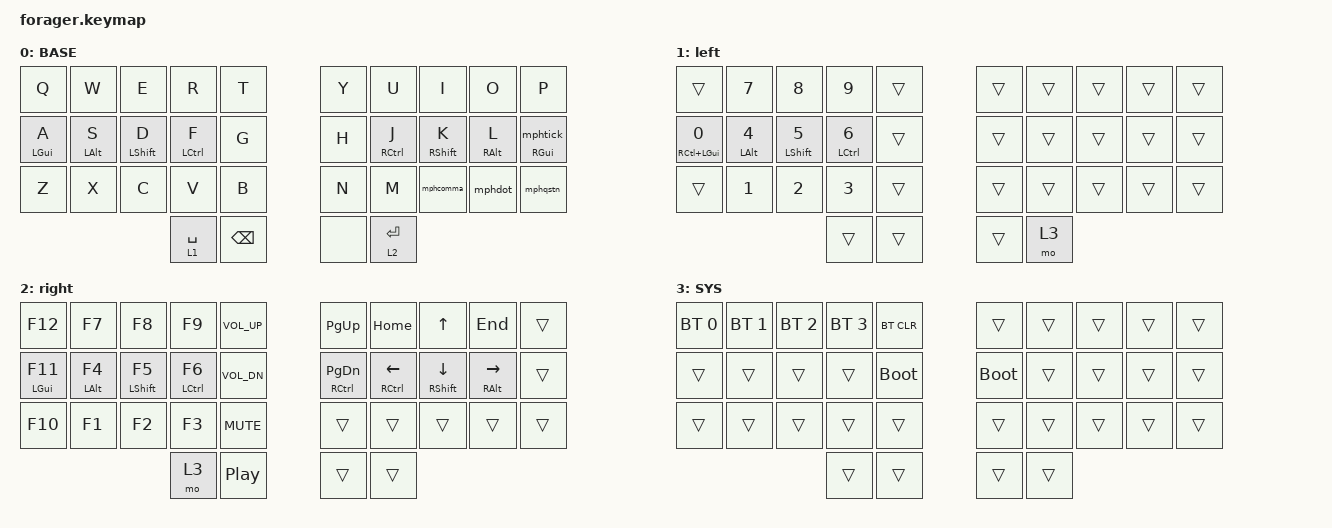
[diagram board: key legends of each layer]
/*
 * Copyright (c) 2020 The ZMK Contributors
 *
 * SPDX-License-Identifier: MIT
 */

#include <behaviors/num_word.dtsi> // Requires auto-layer module.

#define ZMK_POINTING_DEFAULT_SCRL_VAL 20  // 10

#include <behaviors.dtsi>
#include <dt-bindings/zmk/bt.h>
#include <dt-bindings/zmk/keys.h>

&sk {
    release-after-ms = <900>;
    quick-release;
};

&sl { ignore-modifiers; };

&lt {
    flavor = "balanced";
    tapping-term-ms = <200>;
    quick-tap-ms = <175>;
};

/ {
    behaviors {
        hml: home_row_mod_left {
            compatible = "zmk,behavior-hold-tap";
            #binding-cells = <2>;
            flavor = "balanced";
            require-prior-idle-ms = <150>;
            tapping-term-ms = <280>;
            quick-tap-ms = <175>;
            bindings = <&kp>, <&kp>;

            hold-trigger-key-positions = <5 6 7 8 9 15 16 17 18 19 25 26 27 28 29 33 30 31 32>;
            hold-trigger-on-release;
        };

        hmr: home_row_mod_right {
            compatible = "zmk,behavior-hold-tap";
            #binding-cells = <2>;
            flavor = "balanced";
            require-prior-idle-ms = <150>;
            tapping-term-ms = <280>;
            quick-tap-ms = <175>;
            bindings = <&kp>, <&kp>;

            hold-trigger-key-positions = <4 3 2 1 0 10 14 13 11 20 21 22 12 23 24 30 31 32 33 >;
            hold-trigger-on-release;
        };

        mphcomma: mphcomma {
            compatible = "zmk,behavior-mod-morph";
            label = "MPHCOMMA";
            bindings = <&kp DOT>, <&kp COMMA>;

            #binding-cells = <0>;
            mods = <(MOD_LSFT|MOD_RSFT)>;
        };

        mphdot: mphdot {
            compatible = "zmk,behavior-mod-morph";
            label = "MPHDOT";
            bindings = <&kp COLON>, <&kp SEMICOLON>;

            #binding-cells = <0>;
            mods = <(MOD_LSFT|MOD_RSFT)>;
        };

        mphtick: mphtick {
            compatible = "zmk,behavior-mod-morph";
            label = "MPHTICK";
            bindings = <&kp DOUBLE_QUOTES>, <&kp SQT>;

            #binding-cells = <0>;
            mods = <(MOD_LSFT|MOD_RSFT)>;
        };

        hmr_tick: hmr_tick {
            compatible = "zmk,behavior-hold-tap";
            label = "HMR_TICK";
            bindings = <&kp>, <&mphtick>;

            #binding-cells = <2>;
            require-prior-idle-ms = <150>;
            tapping-term-ms = <280>;
            quick-tap-ms = <175>;
            flavor = "balanced";
            hold-trigger-on-release;
            hold-trigger-key-positions = <0 1 2 3 4 10 11 12 13 14 20 21 22 23 24 30 31 32 33>;
        };

        mphlpar: mphlpar {
            compatible = "zmk,behavior-mod-morph";
            label = "MPHLPAR";
            bindings = <&kp LPAR>, <&kp LT>;

            #binding-cells = <0>;
            mods = <(MOD_LSFT|MOD_RSFT)>;
        };

        hmr_lpar: hmr_lpar {
            compatible = "zmk,behavior-hold-tap";
            label = "HMR_LPAR";
            bindings = <&kp>, <&mphlpar>;

            #binding-cells = <2>;
            tapping-term-ms = <280>;
            quick-tap-ms = <175>;
            require-prior-idle-ms = <150>;
            flavor = "balanced";
            hold-trigger-key-positions = <33 0 1 2 3 4 10 11 12 13 14 20 21 22 23 24 30 31 32>;
            hold-trigger-on-release;
        };

        num_smart: num_smart {
            compatible = "zmk,behavior-hold-tap";
            label = "NUM_SMART";
            bindings = <&mo>, <&num_dance>;

            #binding-cells = <2>;
            tapping-term-ms = <200>;
            quick-tap-ms = <175>;
            flavor = "balanced";
        };

        num_dance: num_dance {
            compatible = "zmk,behavior-tap-dance";
            label = "NUM_DANCE";
            #binding-cells = <0>;
            bindings = <&num_word 3>, <&sl 0>;

            tapping-term-ms = <200>;
        };

        shift_magic: shift_magic {
            compatible = "zmk,behavior-hold-tap";
            label = "SHIFT_MAGIC";
            bindings = <&kp>, <&caps_word>;

            #binding-cells = <2>;
            tapping-term-ms = <200>;
            flavor = "balanced";
            quick-tap-ms = <175>;
        };

        mphrpar: mphrpar {
            compatible = "zmk,behavior-mod-morph";
            label = "MPHRPAR";
            bindings = <&kp RPAR>, <&kp GT>;

            #binding-cells = <0>;
            mods = <(MOD_LSFT|MOD_RSFT)>;
        };

        hmr_rpar: hmr_rpar {
            compatible = "zmk,behavior-hold-tap";
            label = "HMR_RPAR";
            bindings = <&kp>, <&mphrpar>;

            #binding-cells = <2>;
            tapping-term-ms = <280>;
            quick-tap-ms = <175>;
            require-prior-idle-ms = <150>;
            flavor = "balanced";
            hold-trigger-key-positions = <33 0 1 2 3 4 10 11 12 13 14 20 21 22 23 24 30 31 32>;
            hold-trigger-on-release;
        };

        mphqstn: mphqstn {
            compatible = "zmk,behavior-mod-morph";
            label = "MPHQSTN";
            bindings = <&kp QUESTION>, <&kp EXCL>;

            #binding-cells = <0>;
            mods = <(MOD_LSFT|MOD_RSFT)>;
        };
    };

    combos {
        compatible = "zmk,combos";

        esc {
            bindings = <&kp ESC>;
            key-positions = <1 2>;
            layers = <0>;
            timeout-ms = <30>;
            require-prior-idle-ms = <150>;
        };

        tab {
            bindings = <&hml LS(LALT) TAB>;
            key-positions = <11 12>;
            timeout-ms = <30>;
            require-prior-idle-ms = <150>;
            layers = <0 1>;
        };

        cut {
            bindings = <&kp LC(X)>;
            key-positions = <21 23>;
            timeout-ms = <30>;
            require-prior-idle-ms = <150>;
            layers = <0 1>;
        };

        copy {
            bindings = <&kp LC(INS)>;
            key-positions = <21 22>;
            timeout-ms = <30>;
            require-prior-idle-ms = <150>;
            layers = <0 1>;
        };

        paste {
            bindings = <&kp LS(INS)>;
            key-positions = <22 23>;
            timeout-ms = <30>;
            require-prior-idle-ms = <150>;
            layers = <0 1>;
        };

        rpar {
            bindings = <&hmr_rpar RS(RALT) 0>;
            key-positions = <17 18>;
            timeout-ms = <30>;
            require-prior-idle-ms = <150>;
            layers = <0>;
        };

        lpar {
            bindings = <&hmr_lpar RS(RCTRL) 0>;
            key-positions = <16 17>;
            timeout-ms = <30>;
            require-prior-idle-ms = <150>;
            layers = <0>;
        };

        del {
            bindings = <&kp DEL>;
            key-positions = <7 8>;
            timeout-ms = <30>;
            require-prior-idle-ms = <150>;
            layers = <0>;
        };

        lbkt {
            bindings = <&kp LBKT>;
            key-positions = <27 26>;
            timeout-ms = <30>;
            require-prior-idle-ms = <150>;
            layers = <0>;
        };

        rbkt {
            bindings = <&kp RBKT>;
            key-positions = <27 28>;
            timeout-ms = <30>;
            require-prior-idle-ms = <150>;
            layers = <0>;
        };

        caret {
            bindings = <&kp CARET>;
            key-positions = <5 15>;
            timeout-ms = <35>;
            require-prior-idle-ms = <50>;
            layers = <0>;
        };

        plus {
            bindings = <&kp PLUS>;
            key-positions = <6 16>;
            timeout-ms = <35>;
            require-prior-idle-ms = <50>;
            layers = <0>;
        };

        star {
            bindings = <&kp STAR>;
            key-positions = <7 17>;
            timeout-ms = <35>;
            require-prior-idle-ms = <50>;
            layers = <0>;
        };

        amps {
            bindings = <&kp AMPS>;
            key-positions = <8 18>;
            timeout-ms = <35>;
            require-prior-idle-ms = <50>;
            layers = <0>;
        };

        under {
            bindings = <&kp UNDER>;
            key-positions = <15 25>;
            timeout-ms = <35>;
            require-prior-idle-ms = <50>;
            layers = <0>;
        };

        minus {
            bindings = <&kp MINUS>;
            key-positions = <26 16>;
            timeout-ms = <35>;
            require-prior-idle-ms = <50>;
            layers = <0>;
        };

        fslh {
            bindings = <&kp FSLH>;
            key-positions = <17 27>;
            timeout-ms = <35>;
            require-prior-idle-ms = <50>;
            layers = <0>;
        };

        pipe {
            bindings = <&kp PIPE>;
            key-positions = <28 18>;
            timeout-ms = <35>;
            require-prior-idle-ms = <50>;
            layers = <0>;
        };

        at {
            bindings = <&kp AT>;
            key-positions = <11 1>;
            timeout-ms = <35>;
            require-prior-idle-ms = <50>;
            layers = <0 1>;
        };

        hash {
            bindings = <&kp HASH>;
            key-positions = <12 2>;
            timeout-ms = <35>;
            require-prior-idle-ms = <50>;
            layers = <0 1>;
        };

        dllr {
            bindings = <&kp DLLR>;
            key-positions = <3 13>;
            timeout-ms = <35>;
            require-prior-idle-ms = <50>;
            layers = <0 1>;
        };

        prcnt {
            bindings = <&kp PRCNT>;
            key-positions = <4 14>;
            timeout-ms = <35>;
            require-prior-idle-ms = <50>;
            layers = <0 1>;
        };

        grave {
            bindings = <&kp GRAVE>;
            key-positions = <21 11>;
            timeout-ms = <35>;
            require-prior-idle-ms = <50>;
            layers = <0 1>;
        };

        bslh {
            bindings = <&kp BSLH>;
            key-positions = <22 12>;
            timeout-ms = <35>;
            require-prior-idle-ms = <50>;
            layers = <0 1>;
        };

        equal {
            bindings = <&kp EQUAL>;
            key-positions = <13 23>;
            timeout-ms = <35>;
            require-prior-idle-ms = <50>;
            layers = <0 1>;
        };

        tilde {
            bindings = <&kp TILDE>;
            key-positions = <24 14>;
            timeout-ms = <35>;
            require-prior-idle-ms = <50>;
            layers = <0 1>;
        };
    };

    keymap {
        compatible = "zmk,keymap";

        base {
            display-name = "BASE";
            bindings = <
  &kp Q        &kp W        &kp E         &kp R         &kp T            &kp Y  &kp U         &kp I          &kp O             &kp P
  &hml LGUI A  &hml LALT S  &hml LSHFT D  &hml LCTRL F  &kp G            &kp H  &hmr RCTRL J  &hmr RSHIFT K  &hmr RIGHT_ALT L  &hmr_tick RGUI 0
  &kp Z        &kp X        &kp C         &kp V         &kp B            &kp N  &kp M         &mphcomma      &mphdot           &mphqstn
                                          &lt 1 SPACE   &kp BACKSPACE    &none  &lt 2 RET
            >;
        };

        left {
            display-name = "left";
            bindings = <
  &trans                &kp N7        &kp N8          &kp N9         &trans    &trans  &trans  &trans  &trans  &trans
  &hml RC(LEFT_GUI) N0  &hml LALT N4  &hml LSHIFT N5  &hml LCTRL N6  &trans    &trans  &trans  &trans  &trans  &trans
  &trans                &kp N1        &kp N2          &kp N3         &trans    &trans  &trans  &trans  &trans  &trans
                                                      &trans         &trans    &trans  &mo 3
            >;
        };

        right {
            display-name = "right";
            bindings = <
  &kp F12        &kp F7        &kp F8          &kp F9         &kp C_VOL_UP    &kp PG_UP             &kp HOME         &kp UP            &kp END               &trans
  &hml LGUI F11  &hml LALT F4  &hml LSHIFT F5  &hml LCTRL F6  &kp C_VOL_DN    &hmr RCTRL PAGE_DOWN  &hmr RCTRL LEFT  &hmr RSHIFT DOWN  &hmr RIGHT_ALT RIGHT  &trans
  &kp F10        &kp F1        &kp F2          &kp F3         &kp C_MUTE      &trans                &trans           &trans            &trans                &trans
                                               &mo 3          &kp C_PP        &trans                &trans
            >;
        };

        sys {
            display-name = "SYS";
            bindings = <
  &bt BT_SEL 0  &bt BT_SEL 1  &bt BT_SEL 2  &bt BT_SEL 3  &bt BT_CLR     &trans       &trans  &trans  &trans  &trans
  &trans        &trans        &trans        &trans        &bootloader    &bootloader  &trans  &trans  &trans  &trans
  &trans        &trans        &trans        &trans        &trans         &trans       &trans  &trans  &trans  &trans
                                            &trans        &trans         &trans       &trans
            >;
        };
    };

    conditional_layers {
        compatible = "zmk,conditional-layers";

        sys {
            if-layers = <2 3>;
            then-layer = <3>;
        };
    };
};
